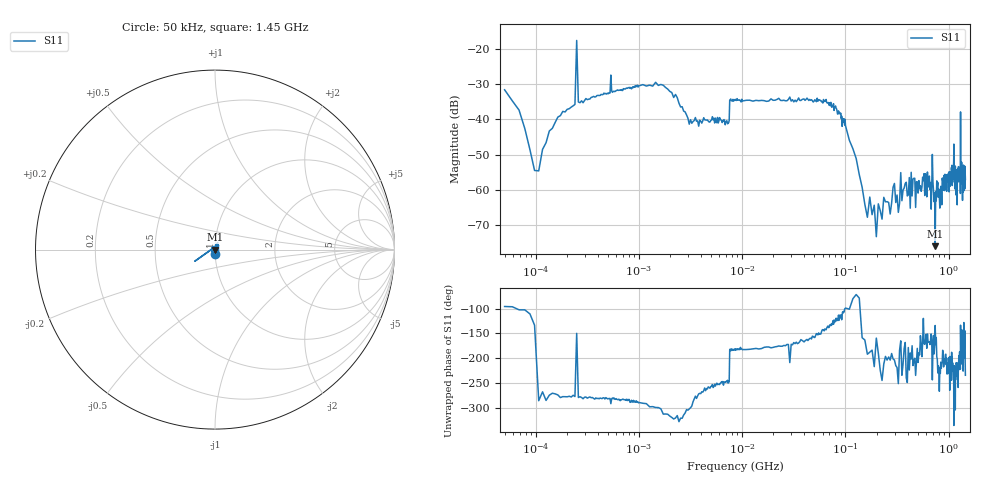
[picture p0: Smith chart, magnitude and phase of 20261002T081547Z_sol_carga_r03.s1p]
! prueba_sol / sol_carga / r03
# HZ S RI R 50
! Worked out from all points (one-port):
!   501 points, 50 kHz to 1.45 GHz, reference 50 ohm
!   lowest |S11| = -75.9 dB at 739 MHz (marker M1), VSWR 1.00, Z = 50 - j0.0115 ohm
!   |S11| at or under -10 dB: start of sweep to end of sweep
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50000  -0.00267 -0.026
107000  0.000513 0.00179
183000  0.00175 0.0128
259000  0.0029 0.0173
278000  0.00301 0.018
658000  0.00713 0.025
1630000  0.0166 0.0262
2440000  0.0143 0.00889
3160000  0.00494 0.00851
7030000  -0.00378 0.00872
7750000  -0.0193 0.00175
8560000  -0.0191 0.000511
3.16e7  -0.0173 -0.00346
8.02e7  -0.00863 -0.0128
1.18e8  0.000657 -0.00378
1.81e8  -0.000447 3.1e-05
4.06e8  -0.000851 -2e-05
7.03e8  -0.00131 1.6e-05
7.39e8  -0.000112 -0.000115
7.66e8  -0.00128 0.000407
8.38e8  -0.000993 0.00053
1.0855e9  -0.00125 0.00122
1.1125e9  -0.000857 0.00176
1.144e9  -0.000228 0.00101
1.288e9  -0.00171 0.00035
1.3105e9  -0.00213 0.00113
1.369e9  -0.00094 -0.000353
1.45e9  -0.000816 0.00115
